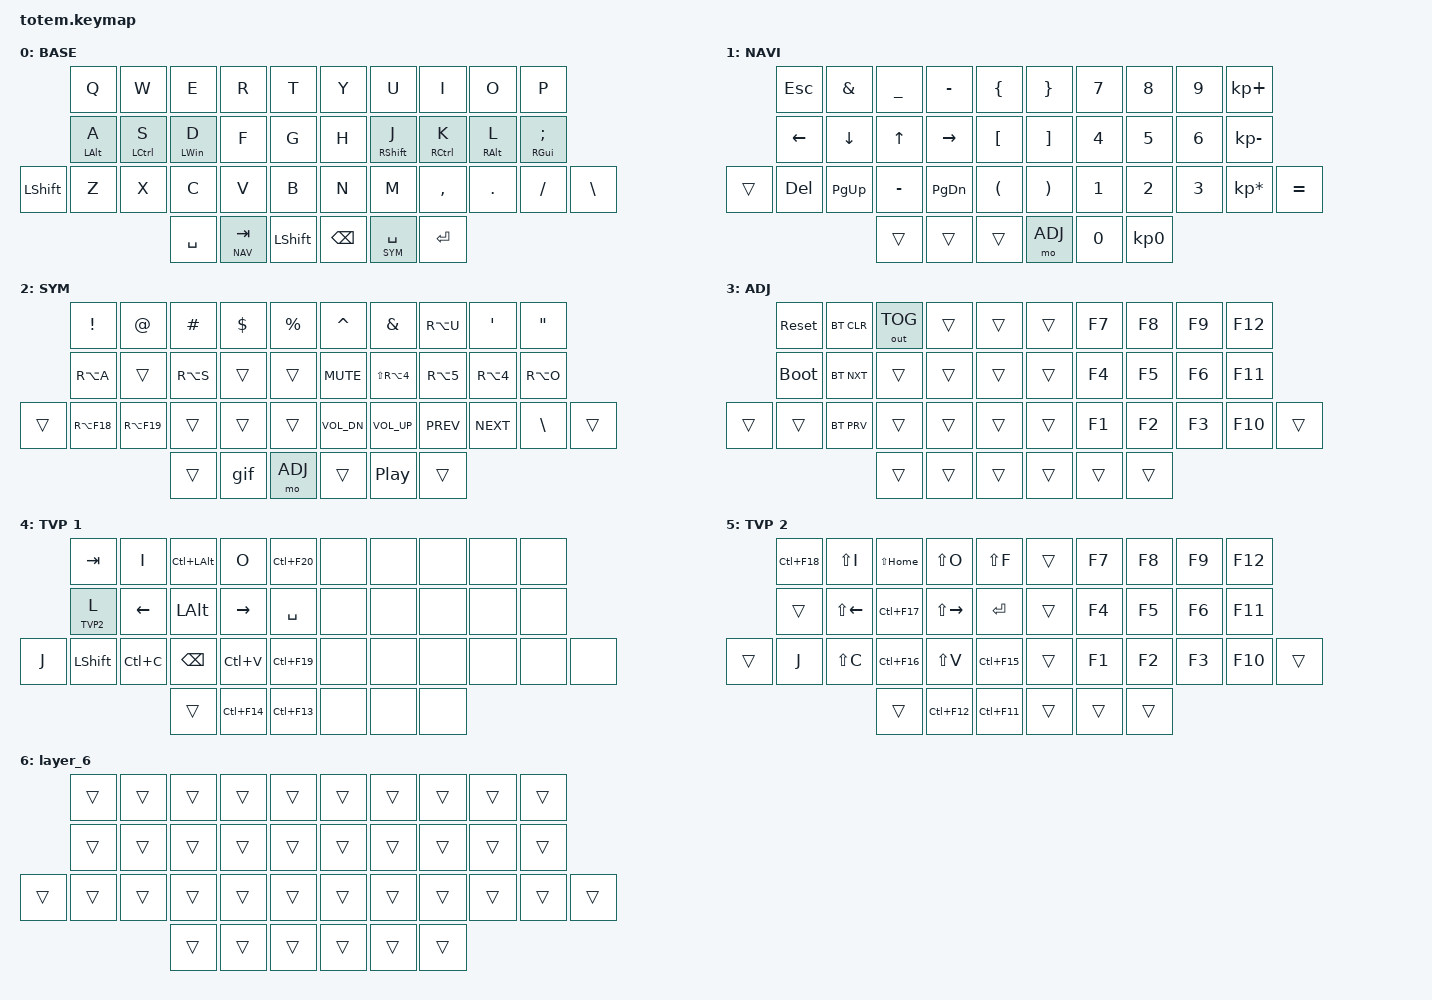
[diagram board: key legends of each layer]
//
//                                                        ▀▀▀▀▀     ▀▀▀▀▀          ▀▀█▀▀
//                                                        ▄▀▀▀▄  ▄  ▄▀▀▀▄  ▄  ▄▀▀▀▄  █  ▄▀▀▀▄
//                                                        █   █  █  █   █  █  █   █  █  █   █
//                                                         ▀▀▀   █   ▀▀▀   █   ▀▀▀   ▀   ▀▀▀
//                                                               █      ▄▄▄█▄▄▄    █   █  
//                                                               ▀      █  █  █     █▄█
//                                                             ▀▀▀▀▀    █  █  █      ▀
//                                                                      ▀  ▀  ▀
//
// ▄▄▄▄▄▄▄▄▄▄▄▄▄▄▄▄▄▄▄▄▄▄▄▄▄▄▄▄▄▄▄▄▄▄▄▄▄▄▄▄▄▄▄▄▄▄▄▄▄▄▄▄▄▄▄▄▄▄▄▄▄▄▄▄▄▄▄▄▄▄▄▄▄▄▄▄▄▄▄▄▄▄▄▄▄▄▄▄▄▄▄▄▄▄▄▄▄▄▄▄▄▄▄▄▄▄▄▄▄▄▄▄▄▄▄▄▄▄▄▄▄▄▄▄▄▄▄▄▄▄▄▄▄▄▄▄▄▄▄▄▄▄▄▄▄▄▄▄▄

#include <behaviors.dtsi>
#include <dt-bindings/zmk/bt.h>
#include <dt-bindings/zmk/keys.h>
#include <dt-bindings/zmk/outputs.h>

#define BASE 0
#define NAV  1
#define SYM  2
#define ADJ  3
#define TVP1 4
#define TVP2 5

&mt {
    quick-tap-ms = <100>;
    global-quick-tap;
    flavor = "tap-preferred";
    tapping-term-ms = <200>;
};

/ {
    combos {
        compatible = "zmk,combos";

        combo_esc {
            timeout-ms = <50>;
            key-positions = <0 1>;
            bindings = <&kp ESC>;
        };

        combo_tvp {
            timeout-ms = <100>;
            key-positions = <11 12 13>;
            bindings = <&tog TVP1>;
        };

        combo_delete {
            bindings = <&kp DELETE>;
            key-positions = <3 4>;
        };
    };

    macros {
        gif: gif {
            label = "giphy";
            compatible = "zmk,behavior-macro";
            #binding-cells = <0>;
            bindings =
                <&macro_press>,
                <&kp LSHFT>,
                <&macro_tap>,
                <&kp N2>,
                <&macro_release>,
                <&kp LSHFT>,
                <&macro_tap>,
                <&kp G &kp I &kp F>;
        };
    };

    keymap {
        compatible = "zmk,keymap";

        // ▄▄▄▄▄▄▄▄▄▄▄▄▄▄▄▄▄▄▄▄▄▄▄▄▄▄▄▄▄▄▄▄▄▄▄▄▄▄▄▄▄▄▄▄▄▄▄▄▄▄▄▄▄▄▄▄▄▄▄▄▄▄▄▄▄▄▄▄▄▄▄▄▄▄▄▄▄▄▄▄▄▄▄▄▄▄▄▄▄▄▄▄▄▄▄▄▄▄▄▄▄▄▄▄▄▄▄▄▄▄▄▄▄▄▄▄▄▄▄▄▄▄▄▄▄▄▄▄▄▄▄▄▄▄▄▄▄▄▄▄▄▄▄▄▄▄▄▄▄

        base_layer {
            // ┏━━━━━━━━━━━━━━━━━━━━━━━━━━━━━━━━━━━━━━━┓

            label = "BASE";

            // ┗━━━━━━━━━━━━━━━━━━━━━━━━━━━━━━━━━━━━━━━┛
            //             ┏━━━━━━━━━━━┳━━━━━━━━━━━┳━━━━━━━━━━━┳━━━━━━━━━━━┳━━━━━━━━━━━┓   ┏━━━━━━━━━━━┳━━━━━━━━━━━┳━━━━━━━━━━━┳━━━━━━━━━━━┳━━━━━━━━━━━┓
            //             ┃     Q     ┃     W     ┃     F     ┃     P     ┃     G     ┃   ┃     J     ┃     L     ┃     U     ┃     Y     ┃     ;     ┃
            //             ┣━━━━━━━━━━━╋━━━━━━━━━━━╋━━━━━━━━━━━╋━━━━━━━━━━━╋━━━━━━━━━━━┫   ┣━━━━━━━━━━━╋━━━━━━━━━━━╋━━━━━━━━━━━╋━━━━━━━━━━━╋━━━━━━━━━━━┫
            //             ┃     A     ┃     R     ┃     S     ┃     T     ┃     D     ┃   ┃     H     ┃     N     ┃     E     ┃     I     ┃     O     ┃
            // ┏━━━━━━━━━━━╋━━━━━━━━━━━╋━━━━━━━━━━━╋━━━━━━━━━━━╋━━━━━━━━━━━╋━━━━━━━━━━━┫   ┣━━━━━━━━━━━╋━━━━━━━━━━━╋━━━━━━━━━━━╋━━━━━━━━━━━╋━━━━━━━━━━━╋━━━━━━━━━━━┓
            // ┃     Q     ┃     Z     ┃     X     ┃     C     ┃     V     ┃     B     ┃   ┃     K     ┃     M     ┃     ,     ┃     .     ┃     /     ┃     \     ┃
            // ┗━━━━━━━━━━━┻━━━━━━━━━━━┻━━━━━━━━━━━╋━━━━━━━━━━━╋━━━━━━━━━━━╋━━━━━━━━━━━┫   ┣━━━━━━━━━━━╋━━━━━━━━━━━╋━━━━━━━━━━━╋━━━━━━━━━━━┻━━━━━━━━━━━┻━━━━━━━━━━━┛
            //                                     ┃    DEL    ┃    TAB    ┃    SPC    ┃   ┃   ENTER   ┃           ┃   BSPC    ┃
            //                                     ┗━━━━━━━━━━━┻━━━━━━━━━━━┻━━━━━━━━━━━┛   ┗━━━━━━━━━━━┻━━━━━━━━━━━┻━━━━━━━━━━━┛

            bindings = <
                &kp Q           &kp W        &kp E           &kp R        &kp T             &kp Y          &kp U          &kp I        &kp O       &kp P
                &mt LEFT_ALT A  &mt LCTRL S  &mt LEFT_WIN D  &kp F        &kp G             &kp H          &mt RSHFT J    &mt RCTRL K  &mt RALT L  &mt RGUI SEMICOLON
&kp LEFT_SHIFT  &kp Z           &kp X        &kp C           &kp V        &kp B             &kp N          &kp M          &kp COMMA    &kp DOT     &kp FSLH            &kp BSLH
                                             &kp SPACE       &lt NAV TAB  &kp LEFT_SHIFT    &kp BACKSPACE  &lt SYM SPACE  &kp ENTER
            >;
        };

        // ▄▄▄▄▄▄▄▄▄▄▄▄▄▄▄▄▄▄▄▄▄▄▄▄▄▄▄▄▄▄▄▄▄▄▄▄▄▄▄▄▄▄▄▄▄▄▄▄▄▄▄▄▄▄▄▄▄▄▄▄▄▄▄▄▄▄▄▄▄▄▄▄▄▄▄▄▄▄▄▄▄▄▄▄▄▄▄▄▄▄▄▄▄▄▄▄▄▄▄▄▄▄▄▄▄▄▄▄▄▄▄▄▄▄▄▄▄▄▄▄▄▄▄▄▄▄▄▄▄▄▄▄▄▄▄▄▄▄▄▄▄▄▄▄▄▄▄▄▄

        nav_layer {
            // ┏━━━━━━━━━━━━━━━━━━━━━━━━━━━━━━━━━━━━━━━┓

            label = "NAVI";

            // ┗━━━━━━━━━━━━━━━━━━━━━━━━━━━━━━━━━━━━━━━┛
            //             ┏━━━━━━━━━━━┳━━━━━━━━━━━┳━━━━━━━━━━━┳━━━━━━━━━━━┳━━━━━━━━━━━┓   ┏━━━━━━━━━━━┳━━━━━━━━━━━┳━━━━━━━━━━━┳━━━━━━━━━━━┳━━━━━━━━━━━┓
            //             ┃           ┃           ┃     UP    ┃           ┃     {     ┃   ┃     }     ┃     7     ┃     8     ┃     9     ┃     +     ┃
            //             ┣━━━━━━━━━━━╋━━━━━━━━━━━╋━━━━━━━━━━━╋━━━━━━━━━━━╋━━━━━━━━━━━┫   ┣━━━━━━━━━━━╋━━━━━━━━━━━╋━━━━━━━━━━━╋━━━━━━━━━━━╋━━━━━━━━━━━┫
            //             ┃   SHIFT   ┃   LEFT    ┃    DOWN   ┃   RIGHT   ┃     [     ┃   ┃     ]     ┃     4     ┃     5     ┃     6     ┃     -     ┃
            // ┏━━━━━━━━━━━╋━━━━━━━━━━━╋━━━━━━━━━━━╋━━━━━━━━━━━╋━━━━━━━━━━━╋━━━━━━━━━━━┫   ┣━━━━━━━━━━━╋━━━━━━━━━━━╋━━━━━━━━━━━╋━━━━━━━━━━━╋━━━━━━━━━━━╋━━━━━━━━━━━┓
            // ┃           ┃           ┃   P UP    ┃  C LOCK   ┃  P DOWN   ┃     (     ┃   ┃     )     ┃     1     ┃     2     ┃     3     ┃     *     ┃           ┃
            // ┗━━━━━━━━━━━┻━━━━━━━━━━━┻━━━━━━━━━━━╋━━━━━━━━━━━╋━━━━━━━━━━━╋━━━━━━━━━━━┫   ┣━━━━━━━━━━━╋━━━━━━━━━━━╋━━━━━━━━━━━╋━━━━━━━━━━━┻━━━━━━━━━━━┻━━━━━━━━━━━┛
            //                                     ┃           ┃    TAB    ┃    SPC    ┃   ┃    DEL    ┃     0     ┃           ┃
            //                                     ┗━━━━━━━━━━━┻━━━━━━━━━━━┻━━━━━━━━━━━┛   ┗━━━━━━━━━━━┻━━━━━━━━━━━┻━━━━━━━━━━━┛

            bindings = <
        &kp ESC         &kp AMPERSAND   &kp UNDERSCORE  &kp MINUS  &kp LBRC            &kp RBRC  &kp N7        &kp N8        &kp N9        &kp KP_PLUS
        &kp LEFT_ARROW  &kp DOWN_ARROW  &kp UP_ARROW    &kp RIGHT  &kp LEFT_BRACKET    &kp RBKT  &kp NUMBER_4  &kp N5        &kp NUMBER_6  &kp KP_MINUS
&trans  &kp DEL         &kp PG_UP       &kp MINUS       &kp PG_DN  &kp LPAR            &kp RPAR  &kp NUMBER_1  &kp NUMBER_2  &kp NUMBER_3  &kp KP_MULTIPLY  &kp EQUAL
                                        &trans          &trans     &trans              &mo ADJ   &kp N0        &kp KP_N0
            >;
        };

        // ▄▄▄▄▄▄▄▄▄▄▄▄▄▄▄▄▄▄▄▄▄▄▄▄▄▄▄▄▄▄▄▄▄▄▄▄▄▄▄▄▄▄▄▄▄▄▄▄▄▄▄▄▄▄▄▄▄▄▄▄▄▄▄▄▄▄▄▄▄▄▄▄▄▄▄▄▄▄▄▄▄▄▄▄▄▄▄▄▄▄▄▄▄▄▄▄▄▄▄▄▄▄▄▄▄▄▄▄▄▄▄▄▄▄▄▄▄▄▄▄▄▄▄▄▄▄▄▄▄▄▄▄▄▄▄▄▄▄▄▄▄▄▄▄▄▄▄▄▄

        sim_layer {
            // ┏━━━━━━━━━━━━━━━━━━━━━━━━━━━━━━━━━━━━━━━┓

            label = "SYM";

            // ┗━━━━━━━━━━━━━━━━━━━━━━━━━━━━━━━━━━━━━━━┛
            //             ┏━━━━━━━━━━━┳━━━━━━━━━━━┳━━━━━━━━━━━┳━━━━━━━━━━━┳━━━━━━━━━━━┓   ┏━━━━━━━━━━━┳━━━━━━━━━━━┳━━━━━━━━━━━┳━━━━━━━━━━━┳━━━━━━━━━━━┓
            //             ┃     !     ┃     @     ┃     #     ┃     $     ┃     %     ┃   ┃     ˆ     ┃     &     ┃     Ü     ┃     '     ┃     "     ┃
            //             ┣━━━━━━━━━━━╋━━━━━━━━━━━╋━━━━━━━━━━━╋━━━━━━━━━━━╋━━━━━━━━━━━┫   ┣━━━━━━━━━━━╋━━━━━━━━━━━╋━━━━━━━━━━━╋━━━━━━━━━━━╋━━━━━━━━━━━┫
            //             ┃     Ä     ┃           ┃    SZ     ┃           ┃           ┃   ┃   MUTE    ┃   YEN     ┃   EURO    ┃  POUND    ┃     Ö     ┃
            // ┏━━━━━━━━━━━╋━━━━━━━━━━━╋━━━━━━━━━━━╋━━━━━━━━━━━╋━━━━━━━━━━━╋━━━━━━━━━━━┫   ┣━━━━━━━━━━━╋━━━━━━━━━━━╋━━━━━━━━━━━╋━━━━━━━━━━━╋━━━━━━━━━━━╋━━━━━━━━━━━┓
            // ┃           ┃  EMAIL1   ┃  EMAIL2   ┃           ┃           ┃           ┃   ┃   VOL-    ┃   VOL+    ┃   LAST    ┃   NEXT    ┃     \     ┃           ┃
            // ┗━━━━━━━━━━━┻━━━━━━━━━━━┻━━━━━━━━━━━╋━━━━━━━━━━━╋━━━━━━━━━━━╋━━━━━━━━━━━┫   ┣━━━━━━━━━━━╋━━━━━━━━━━━╋━━━━━━━━━━━╋━━━━━━━━━━━┻━━━━━━━━━━━┻━━━━━━━━━━━┛
            //                                     ┃           ┃    GIF    ┃    ADJ    ┃   ┃           ┃           ┃           ┃
            //                                     ┗━━━━━━━━━━━┻━━━━━━━━━━━┻━━━━━━━━━━━┛   ┗━━━━━━━━━━━┻━━━━━━━━━━━┻━━━━━━━━━━━┛

            bindings = <
        &kp EXCL     &kp AT       &kp HASH   &kp DLLR  &kp PRCNT    &kp CARET     &kp AMPS        &kp RA(U)   &kp SQT     &kp DQT
        &kp RA(A)    &trans       &kp RA(S)  &trans    &trans       &kp C_MUTE    &kp LS(RA(N4))  &kp RA(N5)  &kp RA(N4)  &kp RA(O)
&trans  &kp RA(F18)  &kp RA(F19)  &trans     &trans    &trans       &kp C_VOL_DN  &kp C_VOL_UP    &kp C_PREV  &kp C_NEXT  &kp BSLH   &trans
                                  &trans     &gif      &mo ADJ      &trans        &kp C_PP        &trans
            >;
        };

        // ▄▄▄▄▄▄▄▄▄▄▄▄▄▄▄▄▄▄▄▄▄▄▄▄▄▄▄▄▄▄▄▄▄▄▄▄▄▄▄▄▄▄▄▄▄▄▄▄▄▄▄▄▄▄▄▄▄▄▄▄▄▄▄▄▄▄▄▄▄▄▄▄▄▄▄▄▄▄▄▄▄▄▄▄▄▄▄▄▄▄▄▄▄▄▄▄▄▄▄▄▄▄▄▄▄▄▄▄▄▄▄▄▄▄▄▄▄▄▄▄▄▄▄▄▄▄▄▄▄▄▄▄▄▄▄▄▄▄▄▄▄▄▄▄▄▄▄▄▄

        adjust_layer {
            // ┏━━━━━━━━━━━━━━━━━━━━━━━━━━━━━━━━━━━━━━━┓

            label = "ADJ";

            // ┗━━━━━━━━━━━━━━━━━━━━━━━━━━━━━━━━━━━━━━━┛
            //             ┏━━━━━━━━━━━┳━━━━━━━━━━━┳━━━━━━━━━━━┳━━━━━━━━━━━┳━━━━━━━━━━━┓   ┏━━━━━━━━━━━┳━━━━━━━━━━━┳━━━━━━━━━━━┳━━━━━━━━━━━┳━━━━━━━━━━━┓
            //             ┃   RESET   ┃ BT CLEAR  ┃  OUT TOG  ┃           ┃           ┃   ┃           ┃    F7     ┃    F8     ┃    F9     ┃    F12    ┃
            //             ┣━━━━━━━━━━━╋━━━━━━━━━━━╋━━━━━━━━━━━╋━━━━━━━━━━━╋━━━━━━━━━━━┫   ┣━━━━━━━━━━━╋━━━━━━━━━━━╋━━━━━━━━━━━╋━━━━━━━━━━━╋━━━━━━━━━━━┫
            //             ┃ BOOTLOAD  ┃ BT NEXT   ┃           ┃           ┃           ┃   ┃           ┃    F4     ┃    F5     ┃    F6     ┃    F11    ┃
            // ┏━━━━━━━━━━━╋━━━━━━━━━━━╋━━━━━━━━━━━╋━━━━━━━━━━━╋━━━━━━━━━━━╋━━━━━━━━━━━┫   ┣━━━━━━━━━━━╋━━━━━━━━━━━╋━━━━━━━━━━━╋━━━━━━━━━━━╋━━━━━━━━━━━╋━━━━━━━━━━━┓
            // ┃           ┃           ┃ BT PREV   ┃           ┃           ┃           ┃   ┃           ┃    F1     ┃    F2     ┃    F3     ┃    F10    ┃           ┃
            // ┗━━━━━━━━━━━┻━━━━━━━━━━━┻━━━━━━━━━━━╋━━━━━━━━━━━╋━━━━━━━━━━━╋━━━━━━━━━━━┫   ┣━━━━━━━━━━━╋━━━━━━━━━━━╋━━━━━━━━━━━╋━━━━━━━━━━━┻━━━━━━━━━━━┻━━━━━━━━━━━┛
            //                                     ┃           ┃           ┃           ┃   ┃           ┃           ┃           ┃
            //                                     ┗━━━━━━━━━━━┻━━━━━━━━━━━┻━━━━━━━━━━━┛   ┗━━━━━━━━━━━┻━━━━━━━━━━━┻━━━━━━━━━━━┛

            bindings = <
        &sys_reset   &bt BT_CLR  &out OUT_TOG  &trans  &trans    &trans  &kp F7  &kp F8  &kp F9  &kp F12
        &bootloader  &bt BT_NXT  &trans        &trans  &trans    &trans  &kp F4  &kp F5  &kp F6  &kp F11
&trans  &trans       &bt BT_PRV  &trans        &trans  &trans    &trans  &kp F1  &kp F2  &kp F3  &kp F10  &trans
                                 &trans        &trans  &trans    &trans  &trans  &trans
            >;
        };

        // ▄▄▄▄▄▄▄▄▄▄▄▄▄▄▄▄▄▄▄▄▄▄▄▄▄▄▄▄▄▄▄▄▄▄▄▄▄▄▄▄▄▄▄▄▄▄▄▄▄▄▄▄▄▄▄▄▄▄▄▄▄▄▄▄▄▄▄▄▄▄▄▄▄▄▄▄▄▄▄▄▄▄▄▄▄▄▄▄▄▄▄▄▄▄▄▄▄▄▄▄▄▄▄▄▄▄▄▄▄▄▄▄▄▄▄▄▄▄▄▄▄▄▄▄▄▄▄▄▄▄▄▄▄▄▄▄▄▄▄▄▄▄▄▄▄▄▄▄▄

        tvp1_layer {
            // ┏━━━━━━━━━━━━━━━━━━━━━━━━━━━━━━━━━━━━━━━┓

            label = "TVP 1";

            // ┗━━━━━━━━━━━━━━━━━━━━━━━━━━━━━━━━━━━━━━━┛
            //             ┏━━━━━━━━━━━┳━━━━━━━━━━━┳━━━━━━━━━━━┳━━━━━━━━━━━┳━━━━━━━━━━━┓   ┏━━━━━━━━━━━┳━━━━━━━━━━━┳━━━━━━━━━━━┳━━━━━━━━━━━┳━━━━━━━━━━━┓
            //             ┃ NEXT FILE ┃ MARK IN   ┃ ROTATE    ┃ MARK OUT  ┃ SHOW SNAP ┃   ┃           ┃           ┃           ┃           ┃           ┃
            //             ┣━━━━━━━━━━━╋━━━━━━━━━━━╋━━━━━━━━━━━╋━━━━━━━━━━━╋━━━━━━━━━━━┫   ┣━━━━━━━━━━━╋━━━━━━━━━━━╋━━━━━━━━━━━╋━━━━━━━━━━━╋━━━━━━━━━━━┫
            //             ┃ TVP II    ┃ LEFT      ┃ PAN       ┃ RIGHT     ┃ PLAY/FLIP ┃   ┃           ┃           ┃           ┃           ┃           ┃
            // ┏━━━━━━━━━━━╋━━━━━━━━━━━╋━━━━━━━━━━━╋━━━━━━━━━━━╋━━━━━━━━━━━╋━━━━━━━━━━━┫   ┣━━━━━━━━━━━╋━━━━━━━━━━━╋━━━━━━━━━━━╋━━━━━━━━━━━╋━━━━━━━━━━━╋━━━━━━━━━━━┓
            // ┃ FULLSCR   ┃ SHIFT     ┃ COPY      ┃ DELETE    ┃ PASTE     ┃ IMG MARK  ┃   ┃           ┃           ┃           ┃           ┃           ┃           ┃
            // ┗━━━━━━━━━━━┻━━━━━━━━━━━┻━━━━━━━━━━━╋━━━━━━━━━━━╋━━━━━━━━━━━╋━━━━━━━━━━━┫   ┣━━━━━━━━━━━╋━━━━━━━━━━━╋━━━━━━━━━━━╋━━━━━━━━━━━┻━━━━━━━━━━━┻━━━━━━━━━━━┛
            //                                     ┃           ┃ UNDO/SAVE ┃  SEL/MOV  ┃   ┃           ┃           ┃           ┃
            //                                     ┗━━━━━━━━━━━┻━━━━━━━━━━━┻━━━━━━━━━━━┛   ┗━━━━━━━━━━━┻━━━━━━━━━━━┻━━━━━━━━━━━┛

            bindings = <
       &kp TAB     &kp I      &kp LC(LALT)  &kp O        &kp LC(F20)    &none  &none  &none  &none  &none
       &lt TVP2 L  &kp LEFT   &kp LALT      &kp RIGHT    &kp SPACE      &none  &none  &none  &none  &none
&kp J  &kp LSHFT   &kp LC(C)  &kp BSPC      &kp LC(V)    &kp LC(F19)    &none  &none  &none  &none  &none  &none
                              &trans        &kp LC(F14)  &kp LC(F13)    &none  &none  &none
            >;
        };

        // ▄▄▄▄▄▄▄▄▄▄▄▄▄▄▄▄▄▄▄▄▄▄▄▄▄▄▄▄▄▄▄▄▄▄▄▄▄▄▄▄▄▄▄▄▄▄▄▄▄▄▄▄▄▄▄▄▄▄▄▄▄▄▄▄▄▄▄▄▄▄▄▄▄▄▄▄▄▄▄▄▄▄▄▄▄▄▄▄▄▄▄▄▄▄▄▄▄▄▄▄▄▄▄▄▄▄▄▄▄▄▄▄▄▄▄▄▄▄▄▄▄▄▄▄▄▄▄▄▄▄▄▄▄▄▄▄▄▄▄▄▄▄▄▄▄▄▄▄▄

        tvp2_layer {
            // ┏━━━━━━━━━━━━━━━━━━━━━━━━━━━━━━━━━━━━━━━┓

            label = "TVP 2";

            // ┗━━━━━━━━━━━━━━━━━━━━━━━━━━━━━━━━━━━━━━━┛
            //             ┏━━━━━━━━━━━┳━━━━━━━━━━━┳━━━━━━━━━━━┳━━━━━━━━━━━┳━━━━━━━━━━━┓   ┏━━━━━━━━━━━┳━━━━━━━━━━━┳━━━━━━━━━━━┳━━━━━━━━━━━┳━━━━━━━━━━━┓
            //             ┃ SOLO      ┃ TOGGLE IN ┃ RESET ROT ┃ TOGGLE OUT┃ TAKE SNAP ┃   ┃           ┃           ┃           ┃           ┃           ┃
            //             ┣━━━━━━━━━━━╋━━━━━━━━━━━╋━━━━━━━━━━━╋━━━━━━━━━━━╋━━━━━━━━━━━┫   ┣━━━━━━━━━━━╋━━━━━━━━━━━╋━━━━━━━━━━━╋━━━━━━━━━━━╋━━━━━━━━━━━┫
            //             ┃ ---       ┃ LAST KEY  ┃ NEW KEY   ┃ NEXT KEY  ┃ ENTER     ┃   ┃           ┃           ┃           ┃           ┃           ┃
            // ┏━━━━━━━━━━━╋━━━━━━━━━━━╋━━━━━━━━━━━╋━━━━━━━━━━━╋━━━━━━━━━━━╋━━━━━━━━━━━┫   ┣━━━━━━━━━━━╋━━━━━━━━━━━╋━━━━━━━━━━━╋━━━━━━━━━━━╋━━━━━━━━━━━╋━━━━━━━━━━━┓
            // ┃           ┃ FULLSCR   ┃ CPY2BRUSH ┃ DEL HEAD  ┃ PSTinPLACE┃ BOOK MARK ┃   ┃           ┃           ┃           ┃           ┃           ┃           ┃
            // ┗━━━━━━━━━━━┻━━━━━━━━━━━┻━━━━━━━━━━━╋━━━━━━━━━━━╋━━━━━━━━━━━╋━━━━━━━━━━━┫   ┣━━━━━━━━━━━╋━━━━━━━━━━━╋━━━━━━━━━━━╋━━━━━━━━━━━┻━━━━━━━━━━━┻━━━━━━━━━━━┛
            //                                     ┃           ┃ REDO/SAV1 ┃TRANS/WARP ┃   ┃           ┃           ┃           ┃
            //                                     ┗━━━━━━━━━━━┻━━━━━━━━━━━┻━━━━━━━━━━━┛   ┗━━━━━━━━━━━┻━━━━━━━━━━━┻━━━━━━━━━━━┛

            bindings = <
        &kp LC(F18)  &kp LS(I)     &kp LS(HOME)  &kp LS(O)      &kp LS(F)      &trans  &kp F7  &kp F8  &kp F9  &kp F12
        &trans       &kp LS(LEFT)  &kp LC(F17)   &kp LS(RIGHT)  &kp RET        &trans  &kp F4  &kp F5  &kp F6  &kp F11
&trans  &kp J        &kp LS(C)     &kp LC(F16)   &kp LS(V)      &kp LC(F15)    &trans  &kp F1  &kp F2  &kp F3  &kp F10  &trans
                                   &trans        &kp LC(F12)    &kp LC(F11)    &trans  &trans  &trans
            >;
        };

        layer_6 {
            bindings = <
        &trans  &trans  &trans  &trans  &trans    &trans  &trans  &trans  &trans  &trans
        &trans  &trans  &trans  &trans  &trans    &trans  &trans  &trans  &trans  &trans
&trans  &trans  &trans  &trans  &trans  &trans    &trans  &trans  &trans  &trans  &trans  &trans
                        &trans  &trans  &trans    &trans  &trans  &trans
            >;
        };
    };
};
